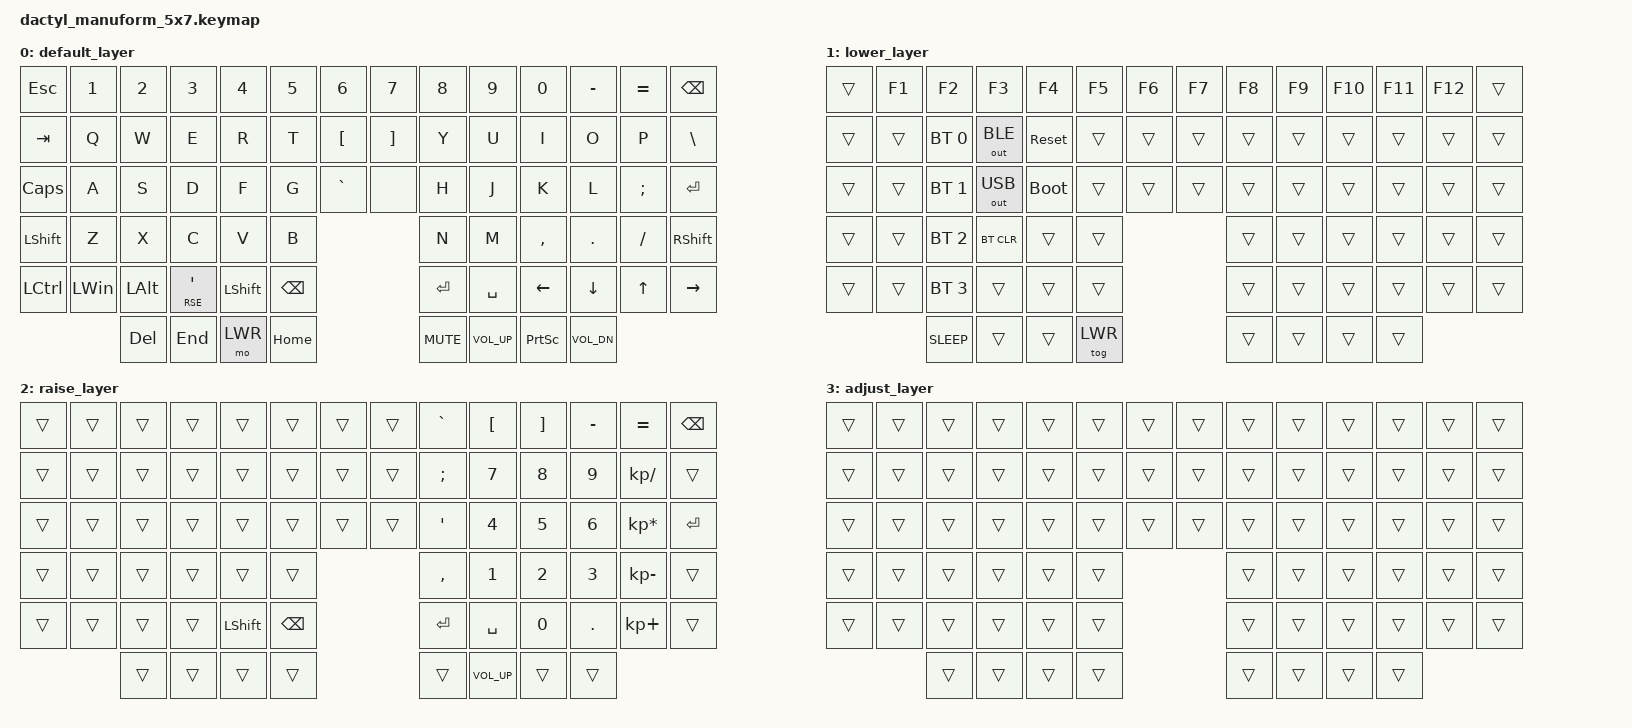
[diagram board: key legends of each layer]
#include <behaviors.dtsi>
#include <dt-bindings/zmk/keys.h>
#include <dt-bindings/zmk/bt.h>
#include <dt-bindings/zmk/outputs.h>

#define DEFAULT 0
#define LWR 1
#define RSE 2
#define ADJ 3

/ {

    keymap {
        compatible = "zmk,keymap";

        default_layer {
            bindings = <
                &kp ESC    &kp N1   &kp N2   &kp N3      &kp N4     &kp N5   &kp N6         &kp N7   &kp N8       &kp N9        &kp N0     &kp MINUS  &kp EQUAL &kp BSPC
                &kp TAB    &kp Q    &kp W    &kp E       &kp R      &kp T    &kp LBKT       &kp RBKT &kp Y        &kp U         &kp I      &kp O      &kp P     &kp BSLH
                &kp CAPS   &kp A    &kp S    &kp D       &kp F      &kp G    &kp GRAVE      &none    &kp H        &kp J         &kp K      &kp L      &kp SEMI  &kp ENTER
                &kp LSHIFT &kp Z    &kp X    &kp C       &kp V      &kp B                            &kp N        &kp M         &kp COMMA  &kp DOT    &kp FSLH  &kp RSHIFT
                &kp LCTRL  &kp LWIN &kp LALT &lt RSE SQT &kp LSHIFT &kp BACKSPACE                    &kp ENTER    &kp SPACE     &kp LEFT   &kp DOWN   &kp UP    &kp RIGHT
                                    &kp DEL  &kp END     &mo LWR    &kp HOME                         &kp C_MUTE   &kp C_VOL_UP  &kp PSCRN  &kp C_VOL_DN
                                                                                                                                                    
            >;
        };

        lower_layer {
            bindings = <
                &trans     &kp F1   &kp F2          &kp F3       &kp F4      &kp F5   &kp F6         &kp F7   &kp F8     &kp F9       &kp F10   &kp F11    &kp F12   &trans
                &trans     &trans   &bt BT_SEL 0    &out OUT_BLE &sys_reset  &trans   &trans         &trans   &trans     &trans       &trans    &trans     &trans    &trans
                &trans     &trans   &bt BT_SEL 1    &out OUT_USB &bootloader &trans   &trans         &trans   &trans     &trans       &trans    &trans     &trans    &trans
                &trans     &trans   &bt BT_SEL 2    &bt BT_CLR   &trans      &trans                           &trans     &trans       &trans    &trans     &trans    &trans
                &trans     &trans   &bt BT_SEL 3    &trans       &trans      &trans                           &trans     &trans       &trans    &trans     &trans    &trans
                                    &kp C_SLEEP     &trans       &trans      &tog LWR                         &trans     &trans       &trans    &trans
                                             
                                             
                                             
            >;
        };

        raise_layer {
            bindings = <
                &trans     &trans   &trans   &trans      &trans     &trans   &trans         &trans   &kp GRAVE  &kp LBKT   &kp RBKT  &kp MINUS  &kp EQUAL       &kp BSPC
                &trans     &trans   &trans   &trans      &trans     &trans   &trans         &trans   &kp SEMI   &kp N7     &kp N8    &kp N9     &kp KP_DIVIDE   &trans
                &trans     &trans   &trans   &trans      &trans     &trans   &trans         &trans   &kp SQT    &kp N4     &kp N5    &kp N6     &kp KP_MULTIPLY &kp ENTER
                &trans     &trans   &trans   &trans      &trans     &trans                           &kp COMMA  &kp N1     &kp N2    &kp N3     &kp KP_MINUS    &trans
                &trans     &trans   &trans   &trans      &kp LSHIFT &kp BACKSPACE                    &kp ENTER  &kp SPACE  &kp N0    &kp DOT    &kp KP_PLUS     &trans
                                    &trans   &trans      &trans     &trans                           &trans     &kp C_VOL_UP &trans    &trans
            >;
        };

        adjust_layer {
            bindings = <
                &trans     &trans   &trans   &trans      &trans     &trans   &trans         &trans   &trans     &trans       &trans    &trans     &trans    &trans
                &trans     &trans   &trans   &trans      &trans     &trans   &trans         &trans   &trans     &trans       &trans    &trans     &trans    &trans
                &trans     &trans   &trans   &trans      &trans     &trans   &trans         &trans   &trans     &trans       &trans    &trans     &trans    &trans
                &trans     &trans   &trans   &trans      &trans     &trans                           &trans     &trans       &trans    &trans     &trans    &trans
                &trans     &trans   &trans   &trans      &trans     &trans                           &trans     &trans       &trans    &trans     &trans    &trans
                                    &trans   &trans      &trans     &trans                           &trans     &trans       &trans    &trans
            >;
        };
    };
};
